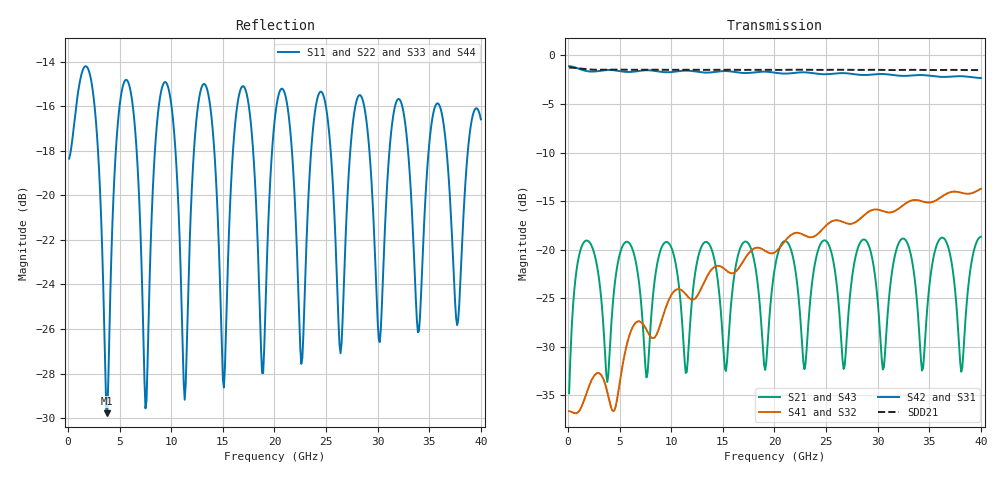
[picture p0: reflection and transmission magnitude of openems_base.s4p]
! T_ts6_diff_sl: Edge-coupled stripline pair In2, w 0.1 / s 0.15 mm, 20 mm
! stackup: ThunderScope Rev5.3 6-layer (FR408HR / FR-4, from the board file)
! ports: 1 near A, 2 near B, 3 far A, 4 far B
! openEMS 0.37.0, staircase, base mesh (dfine 0.035 mm), 661248 cells
# Hz S RI R 50
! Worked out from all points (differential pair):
!   400 points, 100 MHz to 40 GHz, reference 50 ohm
!   strongest paths, dB at 100 MHz, 10.1 GHz, 20.1 GHz, 30.1 GHz, 40 GHz:
!     S42: -1.1, -1.7, -1.8, -1.9, -2.3
!     S31: -1.1, -1.7, -1.8, -1.9, -2.3
!     S41: -36.6, -24.5, -20.2, -15.9, -13.7
!     S32: -36.6, -24.5, -20.2, -15.9, -13.7
!     S21: -34.8, -20.0, -21.5, -26.6, -18.7
!     S43: -34.8, -20.0, -21.5, -26.6, -18.7
!   taken as a pair (ports 2,1 in; 4,3 out), SDD21 dB: -1.3, -1.5, -1.5, -1.5, -1.5
!   lowest |S11| = -29.8 dB at 3.8 GHz (marker M1), VSWR 1.07, Z = 53 + j1.39 ohm
!   |S11| at or under -10 dB: start of sweep to end of sweep
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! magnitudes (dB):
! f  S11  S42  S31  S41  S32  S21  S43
! 100 MHz  -18.4  -1.1  -1.1  -36.6  -36.6  -34.8  -34.8
! 1.7 GHz  -14.2  -1.6  -1.6  -35.0  -35.0  -19.1  -19.1
! 3.8 GHz  -29.8  -1.5  -1.5  -34.6  -34.6  -33.6  -33.6
! 5.6 GHz  -14.8  -1.7  -1.7  -30.2  -30.2  -19.2  -19.2
! 7.5 GHz  -29.6  -1.5  -1.5  -28.0  -28.0  -32.2  -32.2
! 9.3 GHz  -14.9  -1.7  -1.7  -26.5  -26.5  -19.3  -19.3
! 40 GHz  -16.6  -2.3  -2.3  -13.7  -13.7  -18.7  -18.7
